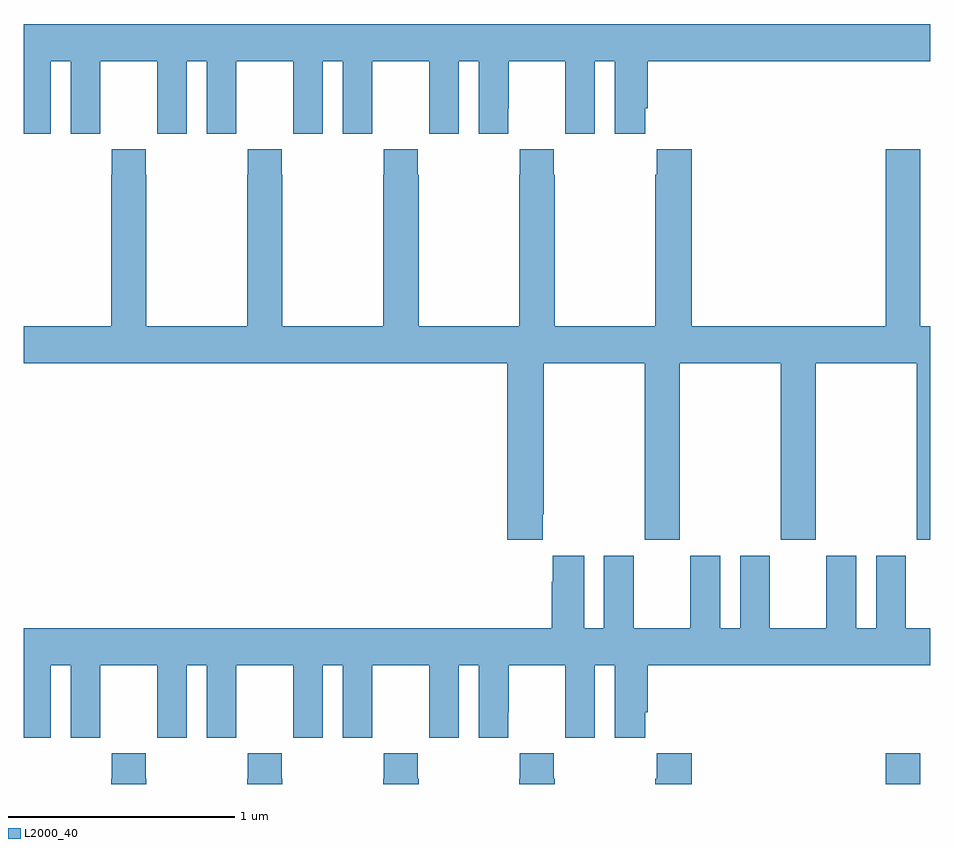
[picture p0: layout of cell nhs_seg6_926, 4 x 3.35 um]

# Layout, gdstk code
import gdstk
lib = gdstk.Library(unit=1e-6, precision=1e-09)
def R(c, l, rs):  # rectangles x0, y0, x1, y1
    for r in rs: c.add(gdstk.rectangle(r[:2], r[2:], *l))
def P(c, l, *ps):  # polygons
    for p in ps: c.add(gdstk.Polygon(p, *l))
L2000_40 = (2000, 40)

nhs_seg6_926 = lib.new_cell('nhs_seg6_926')
R(nhs_seg6_926, L2000_40, [(172.802,925.5,172.954,925.635)])
P(nhs_seg6_926, L2000_40, [(169,928.368),(169.12,928.368),(169.12,928.688),(169.208,928.688),(169.208,928.368),(169.338,928.368),(169.338,928.48),(169.339,928.48),(169.339,928.688),(169.589,928.688),(169.589,928.48),(169.59,928.48),(169.59,928.368),(169.72,928.368),(169.72,928.688),(169.808,928.688),(169.808,928.368),(169.938,928.368),(169.938,928.48),(169.939,928.48),(169.939,928.688),(170.189,928.688),(170.189,928.48),(170.19,928.48),(170.19,928.368),(170.32,928.368),(170.32,928.688),(170.408,928.688),(170.408,928.368),(170.538,928.368),(170.538,928.48),(170.539,928.48),(170.539,928.688),(170.789,928.688),(170.789,928.48),(170.79,928.48),(170.79,928.368),(170.92,928.368),(170.92,928.688),(171.008,928.688),(171.008,928.368),(171.138,928.368),(171.138,928.48),(171.139,928.48),(171.139,928.688),(171.389,928.688),(171.389,928.48),(171.39,928.48),(171.39,928.368),(171.52,928.368),(171.52,928.688),(171.608,928.688),(171.608,928.368),(171.742,928.368),(171.742,928.48),(171.752,928.48),(171.752,928.688),(173,928.688),(173,928.852),(169,928.852)],
  [(171.289,926.689),(171.294,926.689),(171.294,927.356),(171.739,927.356),(171.739,926.577),(171.894,926.577),(171.894,927.356),(172.339,927.356),(172.339,926.577),(172.494,926.577),(172.494,927.356),(172.939,927.356),(172.939,926.577),(173,926.577),(173,927.52),(172.954,927.52),(172.954,928.299),(172.802,928.299),(172.802,927.52),(171.947,927.52),(171.947,928.3),(171.793,928.3),(171.793,928.187),(171.787,928.187),(171.787,927.52),(171.342,927.52),(171.342,928.187),(171.339,928.187),(171.339,928.3),(171.189,928.3),(171.189,928.187),(171.187,928.187),(171.187,927.52),(170.742,927.52),(170.742,928.187),(170.739,928.187),(170.739,928.3),(170.589,928.3),(170.589,928.187),(170.587,928.187),(170.587,927.52),(170.142,927.52),(170.142,928.187),(170.139,928.187),(170.139,928.3),(169.989,928.3),(169.989,928.187),(169.987,928.187),(169.987,927.52),(169.542,927.52),(169.542,928.187),(169.539,928.187),(169.539,928.3),(169.389,928.3),(169.389,928.187),(169.387,928.187),(169.387,927.52),(169,927.52),(169,927.356),(171.134,927.356),(171.134,926.577),(171.289,926.577)],
  [(171.691,926.506),(171.56,926.506),(171.56,926.188),(171.472,926.188),(171.472,926.506),(171.335,926.506),(171.335,926.393),(171.329,926.393),(171.329,926.188),(169,926.188),(169,925.704),(169.12,925.704),(169.12,926.024),(169.208,926.024),(169.208,925.704),(169.338,925.704),(169.338,925.816),(169.339,925.816),(169.339,926.024),(169.589,926.024),(169.589,925.816),(169.59,925.816),(169.59,925.704),(169.72,925.704),(169.72,926.024),(169.808,926.024),(169.808,925.704),(169.938,925.704),(169.938,925.816),(169.939,925.816),(169.939,926.024),(170.189,926.024),(170.189,925.816),(170.19,925.816),(170.19,925.704),(170.32,925.704),(170.32,926.024),(170.408,926.024),(170.408,925.704),(170.538,925.704),(170.538,925.816),(170.539,925.816),(170.539,926.024),(170.789,926.024),(170.789,925.816),(170.79,925.816),(170.79,925.704),(170.92,925.704),(170.92,926.024),(171.008,926.024),(171.008,925.704),(171.138,925.704),(171.138,925.816),(171.139,925.816),(171.139,926.024),(171.389,926.024),(171.389,925.816),(171.39,925.816),(171.39,925.704),(171.52,925.704),(171.52,926.024),(171.608,926.024),(171.608,925.704),(171.742,925.704),(171.742,925.816),(171.752,925.816),(171.752,926.024),(173,926.024),(173,926.188),(172.891,926.188),(172.891,926.506),(172.76,926.506),(172.76,926.188),(172.672,926.188),(172.672,926.506),(172.541,926.506),(172.541,926.188),(172.291,926.188),(172.291,926.506),(172.16,926.506),(172.16,926.188),(172.072,926.188),(172.072,926.506),(171.941,926.506),(171.941,926.188),(171.691,926.188)],
  [(171.947,925.636),(171.793,925.636),(171.793,925.523),(171.787,925.523),(171.787,925.5),(171.947,925.5)],
  [(171.342,925.523),(171.339,925.523),(171.339,925.636),(171.189,925.636),(171.189,925.523),(171.187,925.523),(171.187,925.5),(171.342,925.5)],
  [(170.742,925.523),(170.739,925.523),(170.739,925.636),(170.589,925.636),(170.589,925.523),(170.587,925.523),(170.587,925.5),(170.742,925.5)],
  [(170.142,925.523),(170.139,925.523),(170.139,925.636),(169.989,925.636),(169.989,925.523),(169.987,925.523),(169.987,925.5),(170.142,925.5)],
  [(169.542,925.523),(169.539,925.523),(169.539,925.636),(169.389,925.636),(169.389,925.523),(169.387,925.523),(169.387,925.5),(169.542,925.5)])

lib.write_gds('nhs_seg6_926.gds')
